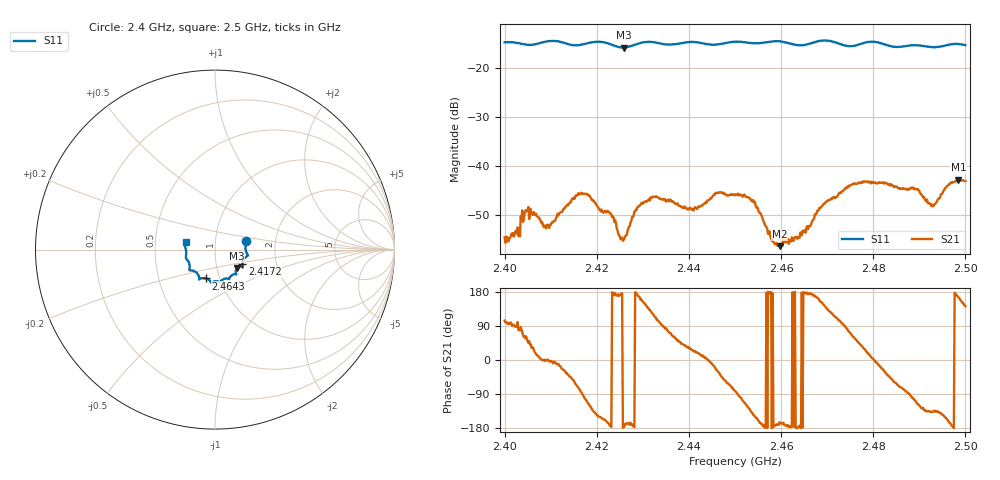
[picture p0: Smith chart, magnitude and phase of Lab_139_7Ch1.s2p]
# Hz S RI R 50
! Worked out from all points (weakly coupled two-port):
!   601 points, 2.4 GHz to 2.5 GHz, reference 50 ohm
!   highest |S21| = -42.73 dB at 2.4985 GHz (marker M1); lowest = -56.3 dB at 2.4597 GHz (marker M2)
!   lowest |S11| = -15.9 dB at 2.4258 GHz (marker M3), VSWR 1.38, Z = 62.2 - j13.3 ohm
!   |S11| at or under -10 dB: start of sweep to end of sweep
!   S12 and S22 are empty: the file has one direction only
!   S11 on the Smith chart (normalised r, x): 2.4 GHz: 1.41, +0.15; 2.4172 GHz: 1.34, -0.22; 2.4643 GHz: 0.86, -0.28; 2.5 GHz: 0.72, +0.06
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2.4e9  0.1733 0.0497  -0.000461 0.00184  0 0  0 0
2.402833e9  0.1733 0.0357  -0.000415 0.00235  0 0  0 0
2.404667e9  0.1698 0.0172  0.00165 0.00318  0 0  0 0
2.409333e9  0.1824 -0.0305  0.00253 6.23e-05  0 0  0 0
2.416667e9  0.1532 -0.0746  0.000472 -0.00535  0 0  0 0
2.417167e9  0.1526 -0.0804  -0.000517 -0.00524  0 0  0 0
2.423e9  0.1449 -0.0934  -0.00327 -0.000319  0 0  0 0
2.425833e9  0.1213 -0.1037  -0.00178 -9.18e-05  0 0  0 0
2.429333e9  0.1165 -0.1331  -0.00385 0.00102  0 0  0 0
2.433333e9  0.1127 -0.1366  -0.00111 0.00469  0 0  0 0
2.4405e9  0.079 -0.1641  0.00324 0.0017  0 0  0 0
2.45e9  0.0297 -0.1808  0.000762 -0.00499  0 0  0 0
2.453833e9  0.0114 -0.1763  -0.00342 -0.00273  0 0  0 0
2.459667e9  -0.0228 -0.1834  -0.00148 -0.000422  0 0  0 0
2.464333e9  -0.05 -0.1607  -0.00208 -3.51e-06  0 0  0 0
2.466667e9  -0.0763 -0.1601  -0.00268 0.000239  0 0  0 0
2.475167e9  -0.1078 -0.1248  0.00232 0.006  0 0  0 0
2.483333e9  -0.1411 -0.0895  0.00473 -0.00437  0 0  0 0
2.489333e9  -0.1624 -0.0443  -0.00202 -0.00547  0 0  0 0
2.493e9  -0.1604 -0.0138  -0.0028 -0.00275  0 0  0 0
2.4985e9  -0.1702 0.0339  -0.00707 0.00183  0 0  0 0
2.5e9  -0.1636 0.0418  -0.00556 0.00436  0 0  0 0
